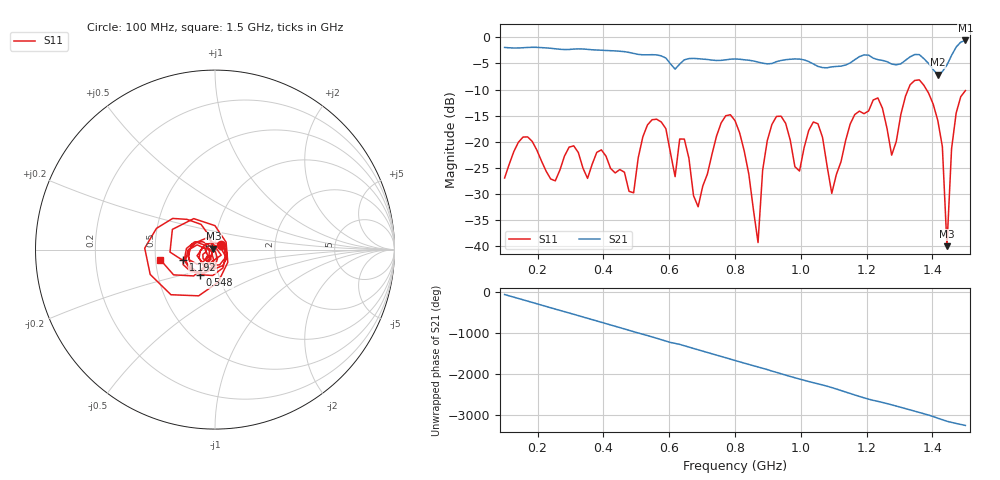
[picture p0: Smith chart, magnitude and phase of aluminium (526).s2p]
! NanoVNA-App
! Date: 2025-09-25 14:59:22
! Start: 100MHz Stop: 1,5GHz Points: 101
! S-Parameter data: F S11 S21 S12 S22
# Hz S RI R 50
!  Frequency  S11_Real  S11_Imag  S21_Real  S21_Imag  S12_Real  S12_Imag  S22_Real  S22_Imag
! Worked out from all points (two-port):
!   101 points, 100 MHz to 1.5 GHz, reference 50 ohm
!   highest |S21| = -0.58 dB at 1.5 GHz (marker M1); lowest = -7.2 dB at 1.416 GHz (marker M2)
!   |S21| within 3 dB of the highest: start of sweep to 577.4 MHz; 1.457 GHz to end of sweep (the widest 2 of 4)
!   lowest |S11| = -40.0 dB at 1.444 GHz (marker M3), VSWR 1.02, Z = 49.1 + j0.479 ohm
!   |S11| at or under -10 dB: start of sweep to 1.326 GHz; 1.382 GHz to end of sweep
!   S12 and S22 are empty: the file has one direction only
!   S11 on the Smith chart (normalised r, x): 100 MHz: 1.07, +0.06; 548 MHz: 0.82, -0.24; 1.192 GHz: 0.70, -0.08; 1.5 GHz: 0.53, -0.07
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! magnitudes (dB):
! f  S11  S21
! 100 MHz  -27.0  -1.9
! 156 MHz  -19.1  -2.0
! 338 MHz  -25.1  -2.2
! 492 MHz  -29.8  -3.1
! 548 MHz  -15.8  -3.3
! 576 MHz  -16.2  -3.5
! 688 MHz  -32.5  -4.1
! 800 MHz  -16.0  -4.1
! 870 MHz  -39.3  -4.7
! 912 MHz  -16.7  -5.0
! 996 MHz  -25.6  -4.2
! 1.038 GHz  -16.2  -5.1
! 1.094 GHz  -29.9  -5.6
! 1.192 GHz  -14.6  -3.4
! 1.234 GHz  -11.6  -4.3
! 1.276 GHz  -22.6  -5.1
! 1.346 GHz  -8.3  -3.3
! 1.416 GHz  -15.9  -7.2
! 1.43 GHz  -20.9  -6.6
! 1.444 GHz  -40.0  -5.3
! 1.458 GHz  -21.4  -3.5
! 1.5 GHz  -10.2  -0.6
